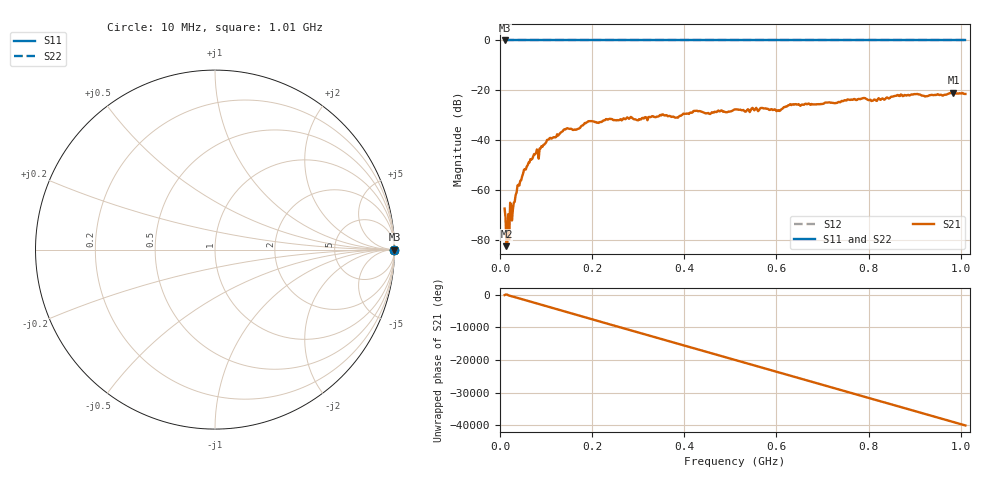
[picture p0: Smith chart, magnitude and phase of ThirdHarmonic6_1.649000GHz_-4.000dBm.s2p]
! 8/16/2025 7:44:11 PM
! C:\ANRITSUVNA\TEMP\TEMP.S2P
! CHANNEL.1
! TR.MEASUREMENT
! RAW.DATA
! RF.CORRECTION.OFF
! AVERAGING.OFF
! IF.BANDWIDTH: 5KHZ
! SWEEPTYPE:  FREQ.SWEEP(Linear)
! Reference Plane Port Info
! PORT:  PORT1  PORT2
! DISTANCE:  0  m  0  m
! TIME:  0  s  0  s
! PHASE.OFFSET:  0  deg.  0  deg.
! LOSS:  0  dB  0  dB
! REF.LOSS:  0  dB  0  dB
! REF.FREQ:  0  Hz  0  Hz
! Power Info
! POWER:  -20  dBm  -20  dBm
! EFF.POWER:  -20  dBm  -20  dBm
! SOURCE.ATTEN:  0  dB  0  dB
! TEST.ATTEN:  0  dB  0  dB
# GHZ S RI R 50.0
! FREQ.GHZ  S11RE  S11IM  S21RE  S21IM  S12RE  S12IM  S22RE  S22IM
!; PortSelection: Port_12
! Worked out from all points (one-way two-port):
!   501 points, 10 MHz to 1.01 GHz, reference 50 ohm
!   highest |S21| = -20.84 dB at 984 MHz (marker M1); lowest = -82.3 dB at 14 MHz (marker M2)
!   lowest |S11| = 0.0 dB at 10 MHz (marker M3)
!   |S11| at or under -10 dB: nowhere
!   |S22| runs from 0.0 to 0.0 dB; largest |S21 - S12| = 1.1
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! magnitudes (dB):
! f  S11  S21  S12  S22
! 10 MHz  0.0  -67.3  0.0  0.0
! 14 MHz  0.0  -82.3  0.0  0.0
! 16 MHz  0.0  -80.8  0.0  0.0
! 26 MHz  0.0  -72.1  0.0  0.0
! 30 MHz  0.0  -64.9  0.0  0.0
! 38 MHz  0.0  -58.0  0.0  0.0
! 50 MHz  0.0  -53.3  0.0  0.0
! 76 MHz  0.0  -45.6  0.0  0.0
! 106 MHz  0.0  -39.6  0.0  0.0
! 142 MHz  0.0  -35.6  0.0  0.0
! 178 MHz  0.0  -34.1  0.0  0.0
! 196 MHz  0.0  -32.3  0.0  0.0
! 344 MHz  0.0  -30.4  0.0  0.0
! 382 MHz  0.0  -30.9  0.0  0.0
! 424 MHz  0.0  -28.2  0.0  0.0
! 510 MHz  0.0  -27.6  0.0  0.0
! 604 MHz  0.0  -27.9  0.0  0.0
! 632 MHz  0.0  -25.9  0.0  0.0
! 678 MHz  0.0  -25.6  0.0  0.0
! 844 MHz  0.0  -23.2  0.0  0.0
! 984 MHz  0.0  -20.8  0.0  0.0
! 1.01 GHz  0.0  -21.4  0.0  0.0
